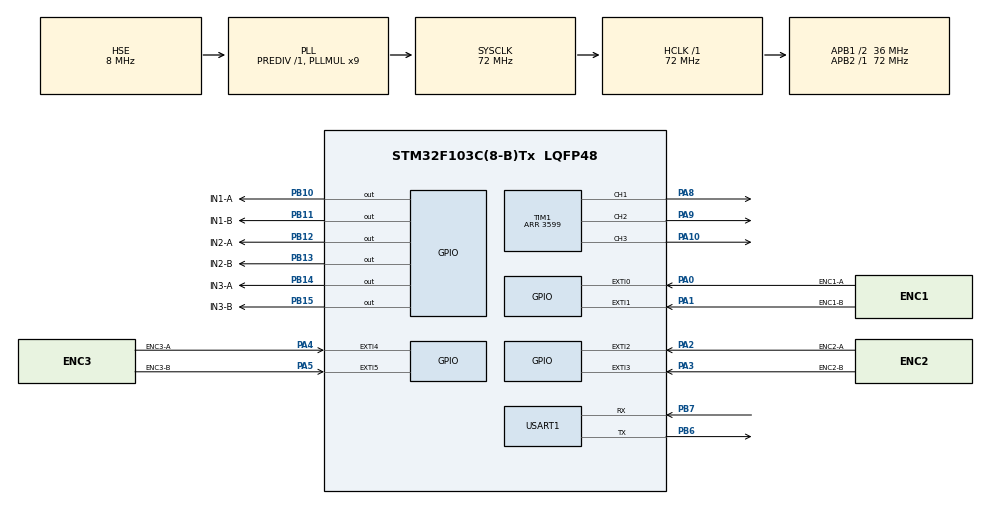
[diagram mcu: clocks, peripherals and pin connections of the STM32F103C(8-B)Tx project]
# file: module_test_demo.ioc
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Dma.Request0=USART1_RX
Dma.Request1=USART1_TX
Dma.USART1_RX.0.Direction=DMA_PERIPH_TO_MEMORY
Dma.USART1_RX.0.Instance=DMA1_Channel5
Dma.USART1_RX.0.MemDataAlignment=DMA_MDATAALIGN_BYTE
Dma.USART1_RX.0.MemInc=DMA_MINC_ENABLE
Dma.USART1_RX.0.Mode=DMA_NORMAL
Dma.USART1_RX.0.PeriphDataAlignment=DMA_PDATAALIGN_BYTE
Dma.USART1_RX.0.PeriphInc=DMA_PINC_DISABLE
Dma.USART1_RX.0.Priority=DMA_PRIORITY_LOW
Dma.USART1_TX.1.Direction=DMA_MEMORY_TO_PERIPH
Dma.USART1_TX.1.Instance=DMA1_Channel4
Dma.USART1_TX.1.MemDataAlignment=DMA_MDATAALIGN_BYTE
Dma.USART1_TX.1.MemInc=DMA_MINC_ENABLE
Dma.USART1_TX.1.Mode=DMA_NORMAL
Dma.USART1_TX.1.PeriphDataAlignment=DMA_PDATAALIGN_BYTE
Dma.USART1_TX.1.PeriphInc=DMA_PINC_DISABLE
Dma.USART1_TX.1.Priority=DMA_PRIORITY_LOW
Mcu.Family=STM32F1
Mcu.Name=STM32F103C(8-B)Tx
Mcu.Package=LQFP48
NVIC.DMA1_Channel4_IRQn=true\:0\:0\:false\:false\:true\:false\:true\:true
NVIC.DMA1_Channel5_IRQn=true\:0\:0\:false\:false\:true\:false\:true\:true
NVIC.EXTI0_IRQn=true\:0\:0\:false\:false\:true\:true\:true\:true
NVIC.EXTI1_IRQn=true\:0\:0\:false\:false\:true\:true\:true\:true
NVIC.EXTI2_IRQn=true\:0\:0\:false\:false\:true\:true\:true\:true
NVIC.EXTI3_IRQn=true\:0\:0\:false\:false\:true\:true\:true\:true
NVIC.EXTI4_IRQn=true\:0\:0\:false\:false\:true\:true\:true\:true
NVIC.EXTI9_5_IRQn=true\:0\:0\:false\:false\:true\:true\:true\:true
NVIC.PriorityGroup=NVIC_PRIORITYGROUP_4
NVIC.TIM1_BRK_IRQn=true\:0\:0\:false\:false\:true\:true\:true\:true
NVIC.TIM4_IRQn=true\:0\:0\:false\:false\:true\:true\:true\:true
PA0-WKUP.GPIO_Label=ENC1-A
PA0-WKUP.Signal=GPXTI0
PA1.GPIO_Label=ENC1-B
PA1.Signal=GPXTI1
PA10.Signal=S_TIM1_CH3
PA13.Mode=Serial_Wire
PA13.Signal=SYS_JTMS-SWDIO
PA14.Mode=Serial_Wire
PA14.Signal=SYS_JTCK-SWCLK
PA2.GPIO_Label=ENC2-A
PA2.Signal=GPXTI2
PA3.GPIO_Label=ENC2-B
PA3.Signal=GPXTI3
PA4.GPIO_Label=ENC3-A
PA4.Signal=GPXTI4
PA5.GPIO_Label=ENC3-B
PA5.Signal=GPXTI5
PA8.Signal=S_TIM1_CH1
PA9.Signal=S_TIM1_CH2
PB10.GPIO_Label=IN1-A
PB10.Signal=GPIO_Output
PB11.GPIO_Label=IN1-B
PB11.Signal=GPIO_Output
PB12.GPIO_Label=IN2-A
PB12.Signal=GPIO_Output
PB13.GPIO_Label=IN2-B
PB13.Signal=GPIO_Output
PB14.GPIO_Label=IN3-A
PB14.Signal=GPIO_Output
PB15.GPIO_Label=IN3-B
PB15.Signal=GPIO_Output
PB6.Mode=Asynchronous
PB6.Signal=USART1_TX
PB7.Mode=Asynchronous
PB7.Signal=USART1_RX
PD0-OSC_IN.Mode=HSE-External-Oscillator
PD0-OSC_IN.Signal=RCC_OSC_IN
PD1-OSC_OUT.Mode=HSE-External-Oscillator
PD1-OSC_OUT.Signal=RCC_OSC_OUT
ProjectManager.HeapSize=0x200
ProjectManager.StackSize=0x400
ProjectManager.TargetToolchain=STM32CubeIDE
RCC.AHBFreq_Value=72000000
RCC.APB1CLKDivider=RCC_HCLK_DIV2
RCC.APB1Freq_Value=36000000
RCC.APB1TimFreq_Value=72000000
RCC.APB2Freq_Value=72000000
RCC.APB2TimFreq_Value=72000000
RCC.HCLKFreq_Value=72000000
RCC.PLLMUL=RCC_PLL_MUL9
RCC.PLLSourceVirtual=RCC_PLLSOURCE_HSE
RCC.SYSCLKFreq_VALUE=72000000
RCC.SYSCLKSource=RCC_SYSCLKSOURCE_PLLCLK
RCC.USBFreq_Value=72000000
SH.S_TIM1_CH1.0=TIM1_CH1,PWM Generation1 CH1
SH.S_TIM1_CH2.0=TIM1_CH2,PWM Generation2 CH2
SH.S_TIM1_CH3.0=TIM1_CH3,PWM Generation3 CH3
TIM1.AutoReloadPreload=TIM_AUTORELOAD_PRELOAD_ENABLE
TIM1.Channel-PWM\ Generation1\ CH1=TIM_CHANNEL_1
TIM1.Channel-PWM\ Generation2\ CH2=TIM_CHANNEL_2
TIM1.Channel-PWM\ Generation3\ CH3=TIM_CHANNEL_3
TIM1.Period=3599
TIM4.AutoReloadPreload=TIM_AUTORELOAD_PRELOAD_ENABLE
USART1.VirtualMode=VM_ASYNC
VP_TIM1_VS_ClockSourceINT.Mode=Internal
VP_TIM4_VS_ClockSourceINT.Mode=Internal
board=custom

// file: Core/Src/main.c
/* USER CODE BEGIN Header */
/**
  ******************************************************************************
  * @file           : main.c
  * @brief          : Main program body
  ******************************************************************************
  * @attention
  *
  * Copyright (c) 2022 STMicroelectronics.
  * All rights reserved.
  *
  * This software is licensed under terms that can be found in the LICENSE file
  * in the root directory of this software component.
  * If no LICENSE file comes with this software, it is provided AS-IS.
  *
  ******************************************************************************
  */
/* USER CODE END Header */
#include "main.h"

TIM_HandleTypeDef htim1;
TIM_HandleTypeDef htim4;

UART_HandleTypeDef huart1;
DMA_HandleTypeDef hdma_usart1_rx;
DMA_HandleTypeDef hdma_usart1_tx;

/* USER CODE BEGIN PV */
/* Define and initialize the encoder and motor position variables (pulse counters) */
int enc1_pos;
int enc2_pos = 0;
int enc3_pos = 0;
int cnt = 0;

float kp1=10.0;
float ki1=0.0;
float kd1=0.0;

float kp2=10.0;
float ki2=0.0;
float kd2=0.0;

float kp3=10.0;
float ki3=0.0;
float kd3=0.0;

uint8_t mot1_dir = 0; /* Either 0 or 1 */
uint8_t mot2_dir = 0;
uint8_t mot3_dir = 0;

/* PWM-Specific Variables */
int duty1 = 0;
int duty2 = 0;
int duty3 = 0;

/* Position set */
uint32_t mot1_set_pos = 0; /* WHAT SHOULD BE THE LIMITS??? */
uint32_t mot2_set_pos = 0;
uint32_t mot3_set_pos = 0;

/* Define pin state */
GPIO_PinState LOW = 0;
GPIO_PinState HIGH = 1;

/* USER CODE END PV */

void SystemClock_Config(void);
static void MX_GPIO_Init(void);
static void MX_DMA_Init(void);
static void MX_TIM1_Init(void);
static void MX_TIM4_Init(void);
static void MX_USART1_UART_Init(void);

/* USER CODE BEGIN 0 */
/*
void set_pwm_duty_cycle(uint8_t percent)
{
  TIM_OC_InitTypeDef sConfigOC = {0};

  sConfigOC.OCMode = TIM_OCMODE_PWM1;
  sConfigOC.Pulse = percent * 5U;
  sConfigOC.OCPolarity = TIM_OCPOLARITY_HIGH;
  sConfigOC.OCFastMode = TIM_OCFAST_DISABLE;
  HAL_TIM_PWM_ConfigChannel(&htim4, &sConfigOC, TIM_CHANNEL_1);
  HAL_TIM_PWM_Start(&htim4, TIM_CHANNEL_1);
}
*/
/* USER CODE END 0 */

int main(void)
{

  /* MCU Configuration--------------------------------------------------------*/

  /* Reset of all peripherals, Initializes the Flash interface and the Systick. */
  HAL_Init();

  /* Configure the system clock */
  SystemClock_Config();

  /* Initialize all configured peripherals */
  MX_GPIO_Init();
  MX_DMA_Init();
  MX_TIM1_Init();
  MX_TIM4_Init();
  MX_USART1_UART_Init();
  /* USER CODE BEGIN 2 */
  HAL_TIM_Base_Start_IT(&htim4);
  HAL_TIM_Base_Start_IT(&htim1);

  HAL_TIM_PWM_Start(&htim1, TIM_CHANNEL_1);
  HAL_TIM_PWM_Start(&htim1, TIM_CHANNEL_2);
  HAL_TIM_PWM_Start(&htim1, TIM_CHANNEL_3);
  HAL_GPIO_WritePin(GPIOB, IN1_B_Pin, LOW);
  HAL_GPIO_WritePin(GPIOB, IN1_A_Pin, LOW);
  /* USER CODE END 2 */

  /* Infinite loop */
  while (1)
  {

  }
}

void SystemClock_Config(void)
{
  RCC_OscInitTypeDef RCC_OscInitStruct = {0};
  RCC_ClkInitTypeDef RCC_ClkInitStruct = {0};

  /** Initializes the RCC Oscillators according to the specified parameters
  * in the RCC_OscInitTypeDef structure.
  */
  RCC_OscInitStruct.OscillatorType = RCC_OSCILLATORTYPE_HSE;
  RCC_OscInitStruct.HSEState = RCC_HSE_ON;
  RCC_OscInitStruct.HSEPredivValue = RCC_HSE_PREDIV_DIV1;
  RCC_OscInitStruct.HSIState = RCC_HSI_ON;
  RCC_OscInitStruct.PLL.PLLState = RCC_PLL_ON;
  RCC_OscInitStruct.PLL.PLLSource = RCC_PLLSOURCE_HSE;
  RCC_OscInitStruct.PLL.PLLMUL = RCC_PLL_MUL9;
  if (HAL_RCC_OscConfig(&RCC_OscInitStruct) != HAL_OK)
  {
    Error_Handler();
  }

  /** Initializes the CPU, AHB and APB buses clocks
  */
  RCC_ClkInitStruct.ClockType = RCC_CLOCKTYPE_HCLK|RCC_CLOCKTYPE_SYSCLK
                              |RCC_CLOCKTYPE_PCLK1|RCC_CLOCKTYPE_PCLK2;
  RCC_ClkInitStruct.SYSCLKSource = RCC_SYSCLKSOURCE_PLLCLK;
  RCC_ClkInitStruct.AHBCLKDivider = RCC_SYSCLK_DIV1;
  RCC_ClkInitStruct.APB1CLKDivider = RCC_HCLK_DIV2;
  RCC_ClkInitStruct.APB2CLKDivider = RCC_HCLK_DIV1;

  if (HAL_RCC_ClockConfig(&RCC_ClkInitStruct, FLASH_LATENCY_2) != HAL_OK)
  {
    Error_Handler();
  }
}

static void MX_TIM1_Init(void)
{

  TIM_ClockConfigTypeDef sClockSourceConfig = {0};
  TIM_MasterConfigTypeDef sMasterConfig = {0};
  TIM_OC_InitTypeDef sConfigOC = {0};
  TIM_BreakDeadTimeConfigTypeDef sBreakDeadTimeConfig = {0};

  htim1.Instance = TIM1;
  htim1.Init.Prescaler = 0;
  htim1.Init.CounterMode = TIM_COUNTERMODE_UP;
  htim1.Init.Period = 719;
  htim1.Init.ClockDivision = TIM_CLOCKDIVISION_DIV1;
  htim1.Init.RepetitionCounter = 0;
  htim1.Init.AutoReloadPreload = TIM_AUTORELOAD_PRELOAD_ENABLE;
  if (HAL_TIM_Base_Init(&htim1) != HAL_OK)
  {
    Error_Handler();
  }
  sClockSourceConfig.ClockSource = TIM_CLOCKSOURCE_INTERNAL;
  if (HAL_TIM_ConfigClockSource(&htim1, &sClockSourceConfig) != HAL_OK)
  {
    Error_Handler();
  }
  if (HAL_TIM_PWM_Init(&htim1) != HAL_OK)
  {
    Error_Handler();
  }
  sMasterConfig.MasterOutputTrigger = TIM_TRGO_RESET;
  sMasterConfig.MasterSlaveMode = TIM_MASTERSLAVEMODE_DISABLE;
  if (HAL_TIMEx_MasterConfigSynchronization(&htim1, &sMasterConfig) != HAL_OK)
  {
    Error_Handler();
  }
  sConfigOC.OCMode = TIM_OCMODE_PWM1;
  sConfigOC.Pulse = 0;
  sConfigOC.OCPolarity = TIM_OCPOLARITY_HIGH;
  sConfigOC.OCNPolarity = TIM_OCNPOLARITY_HIGH;
  sConfigOC.OCFastMode = TIM_OCFAST_DISABLE;
  sConfigOC.OCIdleState = TIM_OCIDLESTATE_RESET;
  sConfigOC.OCNIdleState = TIM_OCNIDLESTATE_RESET;
  if (HAL_TIM_PWM_ConfigChannel(&htim1, &sConfigOC, TIM_CHANNEL_1) != HAL_OK)
  {
    Error_Handler();
  }
  if (HAL_TIM_PWM_ConfigChannel(&htim1, &sConfigOC, TIM_CHANNEL_2) != HAL_OK)
  {
    Error_Handler();
  }
  if (HAL_TIM_PWM_ConfigChannel(&htim1, &sConfigOC, TIM_CHANNEL_3) != HAL_OK)
  {
    Error_Handler();
  }
  sBreakDeadTimeConfig.OffStateRunMode = TIM_OSSR_DISABLE;
  sBreakDeadTimeConfig.OffStateIDLEMode = TIM_OSSI_DISABLE;
  sBreakDeadTimeConfig.LockLevel = TIM_LOCKLEVEL_OFF;
  sBreakDeadTimeConfig.DeadTime = 0;
  sBreakDeadTimeConfig.BreakState = TIM_BREAK_DISABLE;
  sBreakDeadTimeConfig.BreakPolarity = TIM_BREAKPOLARITY_HIGH;
  sBreakDeadTimeConfig.AutomaticOutput = TIM_AUTOMATICOUTPUT_DISABLE;
  if (HAL_TIMEx_ConfigBreakDeadTime(&htim1, &sBreakDeadTimeConfig) != HAL_OK)
  {
    Error_Handler();
  }
  HAL_TIM_MspPostInit(&htim1);

}

static void MX_TIM4_Init(void)
{

  TIM_ClockConfigTypeDef sClockSourceConfig = {0};
  TIM_MasterConfigTypeDef sMasterConfig = {0};

  htim4.Instance = TIM4;
  htim4.Init.Prescaler = 7;
  htim4.Init.CounterMode = TIM_COUNTERMODE_UP;
  htim4.Init.Period = 35999;
  htim4.Init.ClockDivision = TIM_CLOCKDIVISION_DIV1;
  htim4.Init.AutoReloadPreload = TIM_AUTORELOAD_PRELOAD_ENABLE;
  if (HAL_TIM_Base_Init(&htim4) != HAL_OK)
  {
    Error_Handler();
  }
  sClockSourceConfig.ClockSource = TIM_CLOCKSOURCE_INTERNAL;
  if (HAL_TIM_ConfigClockSource(&htim4, &sClockSourceConfig) != HAL_OK)
  {
    Error_Handler();
  }
  sMasterConfig.MasterOutputTrigger = TIM_TRGO_RESET;
  sMasterConfig.MasterSlaveMode = TIM_MASTERSLAVEMODE_DISABLE;
  if (HAL_TIMEx_MasterConfigSynchronization(&htim4, &sMasterConfig) != HAL_OK)
  {
    Error_Handler();
  }

}

static void MX_USART1_UART_Init(void)
{

  huart1.Instance = USART1;
  huart1.Init.BaudRate = 115200;
  huart1.Init.WordLength = UART_WORDLENGTH_8B;
  huart1.Init.StopBits = UART_STOPBITS_1;
  huart1.Init.Parity = UART_PARITY_NONE;
  huart1.Init.Mode = UART_MODE_TX_RX;
  huart1.Init.HwFlowCtl = UART_HWCONTROL_NONE;
  huart1.Init.OverSampling = UART_OVERSAMPLING_16;
  if (HAL_UART_Init(&huart1) != HAL_OK)
  {
    Error_Handler();
  }

}

static void MX_DMA_Init(void)
{

  /* DMA controller clock enable */
  __HAL_RCC_DMA1_CLK_ENABLE();

  /* DMA interrupt init */
  /* DMA1_Channel4_IRQn interrupt configuration */
  HAL_NVIC_SetPriority(DMA1_Channel4_IRQn, 0, 0);
  HAL_NVIC_EnableIRQ(DMA1_Channel4_IRQn);
  /* DMA1_Channel5_IRQn interrupt configuration */
  HAL_NVIC_SetPriority(DMA1_Channel5_IRQn, 0, 0);
  HAL_NVIC_EnableIRQ(DMA1_Channel5_IRQn);

}

static void MX_GPIO_Init(void)
{
  GPIO_InitTypeDef GPIO_InitStruct = {0};

  /* GPIO Ports Clock Enable */
  __HAL_RCC_GPIOD_CLK_ENABLE();
  __HAL_RCC_GPIOA_CLK_ENABLE();
  __HAL_RCC_GPIOB_CLK_ENABLE();

  /*Configure GPIO pin Output Level */
  HAL_GPIO_WritePin(GPIOB, IN1_A_Pin|IN1_B_Pin|IN2_A_Pin|IN2_B_Pin
                          |IN3_A_Pin|IN3_B_Pin, GPIO_PIN_RESET);

  /*Configure GPIO pins : ENC1_A_Pin ENC1_B_Pin ENC2_A_Pin ENC2_B_Pin */
  GPIO_InitStruct.Pin = ENC1_A_Pin|ENC1_B_Pin|ENC2_A_Pin|ENC2_B_Pin;
  GPIO_InitStruct.Mode = GPIO_MODE_IT_RISING;
  GPIO_InitStruct.Pull = GPIO_NOPULL;
  HAL_GPIO_Init(GPIOA, &GPIO_InitStruct);

  /*Configure GPIO pins : ENC3_A_Pin ENC3_B_Pin */
  GPIO_InitStruct.Pin = ENC3_A_Pin|ENC3_B_Pin;
  GPIO_InitStruct.Mode = GPIO_MODE_IT_RISING;
  GPIO_InitStruct.Pull = GPIO_PULLDOWN;
  HAL_GPIO_Init(GPIOA, &GPIO_InitStruct);

  /*Configure GPIO pins : IN1_A_Pin IN1_B_Pin IN2_A_Pin IN2_B_Pin
                           IN3_A_Pin IN3_B_Pin */
  GPIO_InitStruct.Pin = IN1_A_Pin|IN1_B_Pin|IN2_A_Pin|IN2_B_Pin
                          |IN3_A_Pin|IN3_B_Pin;
  GPIO_InitStruct.Mode = GPIO_MODE_OUTPUT_PP;
  GPIO_InitStruct.Pull = GPIO_NOPULL;
  GPIO_InitStruct.Speed = GPIO_SPEED_FREQ_LOW;
  HAL_GPIO_Init(GPIOB, &GPIO_InitStruct);

  /* EXTI interrupt init*/
  HAL_NVIC_SetPriority(EXTI0_IRQn, 0, 0);
  HAL_NVIC_EnableIRQ(EXTI0_IRQn);

  HAL_NVIC_SetPriority(EXTI1_IRQn, 0, 0);
  HAL_NVIC_EnableIRQ(EXTI1_IRQn);

  HAL_NVIC_SetPriority(EXTI2_IRQn, 0, 0);
  HAL_NVIC_EnableIRQ(EXTI2_IRQn);

  HAL_NVIC_SetPriority(EXTI3_IRQn, 0, 0);
  HAL_NVIC_EnableIRQ(EXTI3_IRQn);

  HAL_NVIC_SetPriority(EXTI4_IRQn, 0, 0);
  HAL_NVIC_EnableIRQ(EXTI4_IRQn);

  HAL_NVIC_SetPriority(EXTI9_5_IRQn, 0, 0);
  HAL_NVIC_EnableIRQ(EXTI9_5_IRQn);

}

void Error_Handler(void)
{
  __disable_irq();
  while (1)
  {
  }
}
